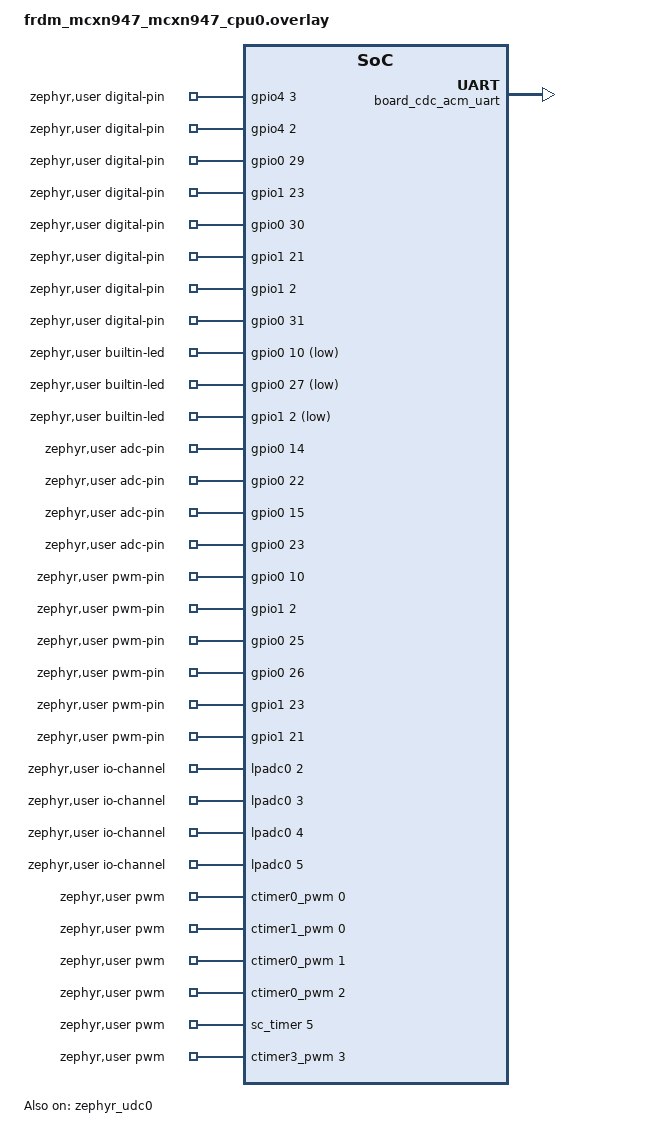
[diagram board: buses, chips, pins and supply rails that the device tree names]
/*
 * Copyright (c) Arduino s.r.l. and/or its affiliated companies
 *
 * SPDX-License-Identifier: Apache-2.0
 */

#include <zephyr/dt-bindings/pwm/pwm.h>

&zephyr_udc0 {
	status = "okay";
	board_cdc_acm_uart: board_cdc_acm_uart {
		compatible = "zephyr,cdc-acm-uart";
		status = "okay";
	};
};

&flash {
	partitions {
		compatible = "fixed-partitions";
		#address-cells = <1>;
		#size-cells = <1>;

		user_sketch: partition@F0000 {
			compatible = "zephyr,mapped-partition";
			reg = <0xF0000 DT_SIZE_K(56)>;
		};
	};
};

/ {
	zephyr,user {
		digital-pin-gpios =
			<&gpio4 3  GPIO_ACTIVE_HIGH>, /* D0  = P4_3  (LPUART2 RX) */
			<&gpio4 2  GPIO_ACTIVE_HIGH>, /* D1  = P4_2  (LPUART2 TX) */
			<&gpio0 29 GPIO_ACTIVE_HIGH>, /* D2  = P0_29 */
			<&gpio1 23 GPIO_ACTIVE_HIGH>, /* D3  = P1_23 */
			<&gpio0 30 GPIO_ACTIVE_HIGH>, /* D4  = P0_30 */
			<&gpio1 21 GPIO_ACTIVE_HIGH>, /* D5  = P1_21 */
			<&gpio1 2  GPIO_ACTIVE_HIGH>, /* D6  = P1_2  (shared with LED_BLUE) */
			<&gpio0 31 GPIO_ACTIVE_HIGH>, /* D7  = P0_31 */
			<&gpio0 28 GPIO_ACTIVE_HIGH>, /* D8  = P0_28 */
			<&gpio0 10 GPIO_ACTIVE_HIGH>, /* D9  = P0_10 (shared with LED_RED, LED_BUILTIN) */
			<&gpio0 27 GPIO_ACTIVE_HIGH>, /* D10 = P0_27 (shared with LED_GREEN; SPI CS) */
			<&gpio0 24 GPIO_ACTIVE_HIGH>, /* D11 = P0_24 (SPI MOSI) */
			<&gpio0 26 GPIO_ACTIVE_HIGH>, /* D12 = P0_26 (SPI MISO) */
			<&gpio0 25 GPIO_ACTIVE_HIGH>, /* D13 = P0_25 (SPI SCK) */
			<&gpio4 0  GPIO_ACTIVE_HIGH>, /* D14 = P4_0  (I2C SDA) */
			<&gpio4 1  GPIO_ACTIVE_HIGH>, /* D15 = P4_1  (I2C SCL) */
			<&gpio0 23 GPIO_ACTIVE_HIGH>, /* D16 = P0_23 (SW2, shared with A5) */
			<&gpio0 6  GPIO_ACTIVE_HIGH>, /* D17 = P0_6  (SW3) */
			<&gpio0 14 GPIO_ACTIVE_HIGH>, /* D18 = P0_14 (A2) */
			<&gpio0 22 GPIO_ACTIVE_HIGH>, /* D19 = P0_22 (A3) */
			<&gpio0 15 GPIO_ACTIVE_HIGH>; /* D20 = P0_15 (A4) */
		builtin-led-gpios = <&gpio0 10 GPIO_ACTIVE_LOW>, <&gpio0 27 GPIO_ACTIVE_LOW>, <&gpio1 2 GPIO_ACTIVE_LOW>;
		cdc-acm-serial = <&board_cdc_acm_uart>; /* 'Serial' object is managed by SerialUSB */
		serials = <&flexcomm4_lpuart4>; /* 'Serial1' onwards */
		i2cs = <&flexcomm2_lpi2c2>;
		spis = <&flexcomm1_lpspi1>;

		/*
		 * A2-A5 on the Arduino header. A0/A1 are analog-only pads with no
		 * GPIO, so they can't be listed in adc-pin-gpios.
		 */
		io-channels = <&lpadc0 2>, <&lpadc0 3>, <&lpadc0 4>, <&lpadc0 5>;
		adc-pin-gpios = <&gpio0 14 0>, /* A2 = D18 */
				<&gpio0 22 0>, /* A3 = D19 */
				<&gpio0 15 0>, /* A4 = D20 */
				<&gpio0 23 0>; /* A5 = D16 (SW2) */

		/*
		 * pwm-pin-gpios entries are paired with pwms entries by index.
		 * D12/D13 are also SPI MISO/SCK, so analogWrite() on them can't be
		 * used together with SPI in the same sketch.
		 *
		 * D10 (CT0_MAT3) is not exposed: a CTimer reserves one of its four
		 * match channels as the period channel, so only three of ctimer0's
		 * MAT0-3 can be PWM outputs. D9/D13/D12 (MAT0-2) are kept.
		 *
		 * All channels use PWM_POLARITY_NORMAL; duty cycles were checked
		 * with a logic analyzer on every pin.
		 */
		pwms = <&ctimer0_pwm 0 PWM_HZ(500) PWM_POLARITY_NORMAL>, /* D9  CT0_MAT0 */
		       <&ctimer1_pwm 0 PWM_HZ(500) PWM_POLARITY_NORMAL>, /* D6  CT1_MAT0 */
		       <&ctimer0_pwm 1 PWM_HZ(500) PWM_POLARITY_NORMAL>, /* D13 CT0_MAT1 */
		       <&ctimer0_pwm 2 PWM_HZ(500) PWM_POLARITY_NORMAL>, /* D12 CT0_MAT2 */
		       <&sc_timer 5 PWM_HZ(500) PWM_POLARITY_NORMAL>,    /* D3  SCT0_OUT5 */
		       <&ctimer3_pwm 3 PWM_HZ(500) PWM_POLARITY_NORMAL>; /* D5  CT3_MAT3 */
		pwm-pin-gpios = <&gpio0 10 0>, /* D9 */
				<&gpio1 2  0>, /* D6 */
				<&gpio0 25 0>, /* D13 */
				<&gpio0 26 0>, /* D12 */
				<&gpio1 23 0>, /* D3 */
				<&gpio1 21 0>; /* D5 */
	};
};
